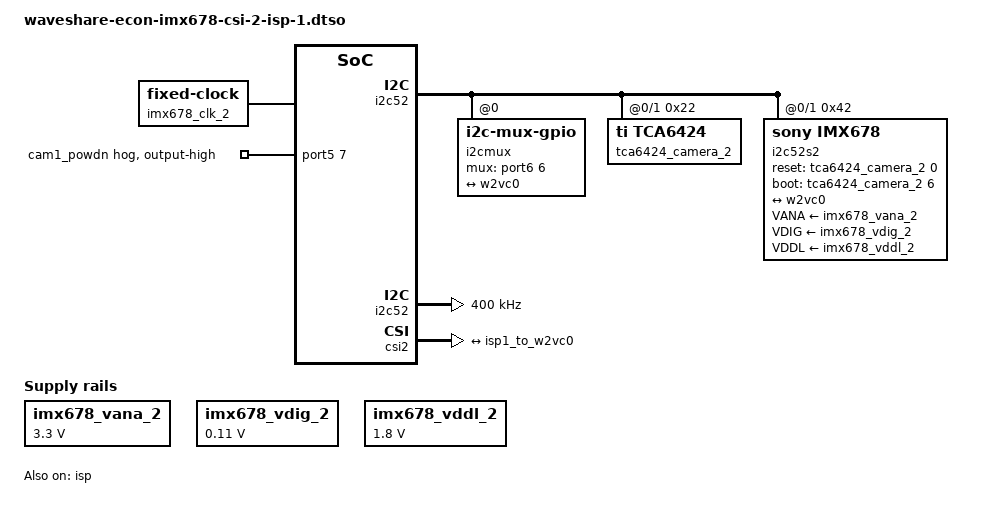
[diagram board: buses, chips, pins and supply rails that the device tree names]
// SPDX-License-Identifier: (GPL-2.0+ OR MIT)
/*
 * Copyright (c) 2025 SiMa ai
 */

/dts-v1/;
/plugin/;

&port5 {
	cam-hog1 {
		gpio-hog;
		/* Set port5 gpio7 to GPIO_ACTIVE_HIGH mode */
		gpios = <7 0>;
		output-high;
		line-name = "cam1_powdn";
	};
};

&i2c52 {
    status = "okay";
    clock-frequency = <400000>;
    #address-cells = <1>;
    #size-cells = <0>;
};

/ {
    fragment@10 {
        target-path = "/"; /* Root node of the base tree */
        __overlay__ {
			imx678_vana_2: csi2_fixedregulator@0 {
				compatible = "regulator-fixed";
				regulator-name = "imx678_vana_2";
				regulator-min-microvolt = <3300000>;
				regulator-max-microvolt = <3300000>;
				enable-active-high;
				startup-delay-us = <300000>;
				regulator-always-on;
			};
			imx678_vdig_2: csi2_fixedregulator@1 {
				compatible = "regulator-fixed";
				regulator-name = "imx678_vdig_2";
				regulator-min-microvolt = <110000>;
				regulator-max-microvolt = <110000>;
				regulator-always-on;
			};
			imx678_vddl_2: csi2_fixedregulator@2 {
				compatible = "regulator-fixed";
				regulator-name = "imx678_vddl_2";
				regulator-min-microvolt = <1800000>;
				regulator-max-microvolt = <1800000>;
				regulator-always-on;
			};
			imx678_clk_2: csi2_camera-clk {
				compatible = "fixed-clock";
				#clock-cells = <0>;
				clock-frequency = <24000000>;
			};
        };
    };

    fragment@11 {
        target-path = "/"; /* Root node of the base tree */
        __overlay__ {
			i2cmux@0 {
				compatible = "i2c-mux-gpio";
				i2c-parent = <&i2c52>;
				#address-cells = <1>;
				#size-cells = <0>;
				/* Set port6 gpio6 to GPIO_ACTIVE_LOW mode */
				mux-gpios = <&port6 6 0>;
				i2c@1 {
					reg = <1>;
					#address-cells = <1>;
					#size-cells = <0>;
					tca6424_camera_2: tca6424@22 {
						compatible = "ti,tca6424";
						gpio-controller;
						#gpio-cells = <2>;
						reg = <0x22>;
						status = "okay";
					};
					i2c52s2: sensor@42 {
						compatible = "sony,imx678";
						reg = <0x42>;
						clocks = <&imx678_clk_2>;
						clock-names = "xclk";
						VANA-supply = <&imx678_vana_2>;
						VDIG-supply = <&imx678_vdig_2>;
						VDDL-supply = <&imx678_vddl_2>;
						reset-gpios = <&tca6424_camera_2 0 0>;
						boot-gpios = <&tca6424_camera_2 6 0>;
						camera_mipi_lanes = <2>;
						cam_fw_name = "imx678_cam_fw.bin";
						i2c52p2: port@1 {
							camera_2: endpoint@0 {
								remote-endpoint = <&w2vc0>;
								data-lanes = <1 2>;
								clock-lanes = <0>;
								clock-continuous;
								link-frequencies = /bits/ 64 <450000000>;
							};
						};
					};
				};
			};
		};
	};
};

&mipi_dphy_rx2 {
	snps,dphy-frequency = <1040000000>;
};

&axi_vdma_vis2 { status = "okay"; };

&csi2 {
	status = "okay";
	isp-connected = <1>;
	csi2p0: port@1 {
		reg = <1>;
		w2vc0_to_isp1: endpoint@1 {
			remote-endpoint = <&isp1_to_w2vc0>;
			data-lanes = <1 2>;
			clock-lanes = <1>;
			clock-continuous;
			link-frequencies = /bits/ 64 <450000000>;
		};
	};
};

&isp {
	status = "okay";
	ports {
		#address-cells = <1>;
		#size-cells = <0>;
		isp1p0: port@2 {
			reg = <1>;
			isp1_to_w2vc0: endpoint@0 {
				remote-endpoint = <&w2vc0_to_isp1>;
				dma-index = <2>;
			};
			w2vc0: endpoint@1 {
				remote-endpoint = <&camera_2>;
				sensor-id = <2>;
			};
		};
	};
};
